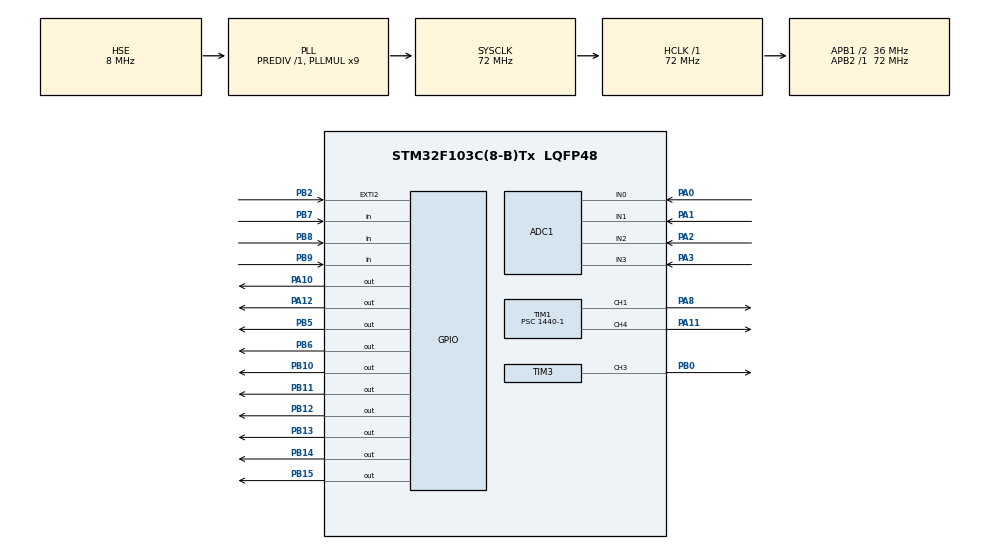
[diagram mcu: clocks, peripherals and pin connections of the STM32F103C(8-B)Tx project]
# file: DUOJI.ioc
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ADC1.Channel-11\#ChannelRegularConversion=ADC_CHANNEL_0
ADC1.Channel-12\#ChannelRegularConversion=ADC_CHANNEL_1
ADC1.Channel-13\#ChannelRegularConversion=ADC_CHANNEL_2
ADC1.Channel-14\#ChannelRegularConversion=ADC_CHANNEL_3
ADC1.ContinuousConvMode=ENABLE
ADC1.ExternalTrigConv=ADC_SOFTWARE_START
ADC1.NbrOfConversion=4
ADC1.NbrOfConversionFlag=1
ADC1.Rank-11\#ChannelRegularConversion=1
ADC1.Rank-12\#ChannelRegularConversion=2
ADC1.Rank-13\#ChannelRegularConversion=3
ADC1.Rank-14\#ChannelRegularConversion=4
ADC1.SamplingTime-11\#ChannelRegularConversion=ADC_SAMPLETIME_7CYCLES_5
ADC1.SamplingTime-12\#ChannelRegularConversion=ADC_SAMPLETIME_7CYCLES_5
ADC1.SamplingTime-13\#ChannelRegularConversion=ADC_SAMPLETIME_7CYCLES_5
ADC1.SamplingTime-14\#ChannelRegularConversion=ADC_SAMPLETIME_7CYCLES_5
ADC1.master=1
Dma.ADC1.0.Direction=DMA_PERIPH_TO_MEMORY
Dma.ADC1.0.Instance=DMA1_Channel1
Dma.ADC1.0.MemDataAlignment=DMA_MDATAALIGN_HALFWORD
Dma.ADC1.0.MemInc=DMA_MINC_ENABLE
Dma.ADC1.0.Mode=DMA_CIRCULAR
Dma.ADC1.0.PeriphDataAlignment=DMA_PDATAALIGN_HALFWORD
Dma.ADC1.0.PeriphInc=DMA_PINC_DISABLE
Dma.ADC1.0.Priority=DMA_PRIORITY_LOW
Dma.Request0=ADC1
Mcu.Family=STM32F1
Mcu.Name=STM32F103C(8-B)Tx
Mcu.Package=LQFP48
NVIC.ADC1_2_IRQn=true\:0\:0\:false\:false\:true\:true\:true\:true
NVIC.DMA1_Channel1_IRQn=true\:0\:0\:false\:false\:true\:false\:true\:true
NVIC.EXTI2_IRQn=true\:0\:0\:false\:false\:true\:true\:true\:true
NVIC.PriorityGroup=NVIC_PRIORITYGROUP_4
NVIC.TIM4_IRQn=true\:0\:0\:false\:false\:true\:true\:true\:true
PA0-WKUP.Signal=ADCx_IN0
PA1.Signal=ADCx_IN1
PA10.Signal=GPIO_Output
PA11.Signal=S_TIM1_CH4
PA12.Signal=GPIO_Output
PA13.Mode=Serial_Wire
PA13.Signal=SYS_JTMS-SWDIO
PA14.Mode=Serial_Wire
PA14.Signal=SYS_JTCK-SWCLK
PA2.Signal=ADCx_IN2
PA3.Signal=ADCx_IN3
PA8.Signal=S_TIM1_CH1
PB0.Signal=S_TIM3_CH3
PB10.Signal=GPIO_Output
PB11.Signal=GPIO_Output
PB12.Signal=GPIO_Output
PB13.Signal=GPIO_Output
PB14.Signal=GPIO_Output
PB15.Signal=GPIO_Output
PB2.GPIO_PuPd=GPIO_PULLUP
PB2.Signal=GPXTI2
PB4.Signal=S_TIM3_CH1
PB5.Signal=GPIO_Output
PB6.Signal=GPIO_Output
PB7.Signal=GPIO_Input
PB8.Signal=GPIO_Input
PB9.Signal=GPIO_Input
PD0-OSC_IN.Mode=HSE-External-Oscillator
PD0-OSC_IN.Signal=RCC_OSC_IN
PD1-OSC_OUT.Mode=HSE-External-Oscillator
PD1-OSC_OUT.Signal=RCC_OSC_OUT
ProjectManager.HeapSize=0x200
ProjectManager.StackSize=0x400
ProjectManager.TargetToolchain=MDK-ARM V5.32
RCC.ADCPresc=RCC_ADCPCLK2_DIV6
RCC.AHBFreq_Value=72000000
RCC.APB1CLKDivider=RCC_HCLK_DIV2
RCC.APB1Freq_Value=36000000
RCC.APB1TimFreq_Value=72000000
RCC.APB2Freq_Value=72000000
RCC.APB2TimFreq_Value=72000000
RCC.HCLKFreq_Value=72000000
RCC.PLLMUL=RCC_PLL_MUL9
RCC.PLLSourceVirtual=RCC_PLLSOURCE_HSE
RCC.SYSCLKFreq_VALUE=72000000
RCC.SYSCLKSource=RCC_SYSCLKSOURCE_PLLCLK
RCC.USBFreq_Value=72000000
SH.ADCx_IN0.0=ADC1_IN0,IN0
SH.ADCx_IN1.0=ADC1_IN1,IN1
SH.ADCx_IN2.0=ADC1_IN2,IN2
SH.ADCx_IN3.0=ADC1_IN3,IN3
SH.S_TIM1_CH1.0=TIM1_CH1,PWM Generation1 CH1
SH.S_TIM1_CH4.0=TIM1_CH4,PWM Generation4 CH4
SH.S_TIM3_CH1.0=TIM3_CH1
SH.S_TIM3_CH3.0=TIM3_CH3,PWM Generation3 CH3
TIM1.AutoReloadPreload=TIM_AUTORELOAD_PRELOAD_ENABLE
TIM1.Channel-PWM\ Generation1\ CH1=TIM_CHANNEL_1
TIM1.Channel-PWM\ Generation4\ CH4=TIM_CHANNEL_4
TIM1.OCFastMode_PWM-PWM\ Generation1\ CH1=TIM_OCFAST_DISABLE
TIM1.OCFastMode_PWM-PWM\ Generation4\ CH4=TIM_OCFAST_DISABLE
TIM1.Period=100-1
TIM1.Prescaler=1440-1
TIM1.Pulse-PWM\ Generation1\ CH1=90
TIM1.Pulse-PWM\ Generation4\ CH4=90
TIM2.Period=100-1
TIM2.Prescaler=7200-1
TIM3.Channel-PWM\ Generation3\ CH3=TIM_CHANNEL_3
TIM3.Period=20000-1
TIM3.Prescaler=72-1
TIM4.Period=100-1
TIM4.Prescaler=7200-1
VP_TIM1_VS_ClockSourceINT.Mode=Internal
VP_TIM2_VS_ClockSourceINT.Mode=Internal
VP_TIM3_VS_ClockSourceINT.Mode=Internal
VP_TIM4_VS_ClockSourceINT.Mode=Internal
board=custom

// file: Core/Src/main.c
/* USER CODE BEGIN Header */
/**
  ******************************************************************************
  * @file           : main.c
  * @brief          : Main program body
  ******************************************************************************
  * @attention
  *
  * Copyright (c) 2024 STMicroelectronics.
  * All rights reserved.
  *
  * This software is licensed under terms that can be found in the LICENSE file
  * in the root directory of this software component.
  * If no LICENSE file comes with this software, it is provided AS-IS.
  *
  ******************************************************************************
  */
/* USER CODE END Header */
#include "main.h"
#include "adc.h"
#include "dma.h"
#include "tim.h"
#include "gpio.h"

/* USER CODE BEGIN Includes */
#include "pwm.h"
#include "badc.h"
#include "pid.h"
#include "oled.h"
#include "key.h"
#include "stdio.h"
extern struct keys key[3];
extern uint16_t adci[10];
extern uint16_t adcj[10];
extern uint16_t adck[10];
extern uint16_t adctmp[10];
extern uint16_t AD_Val[10];
extern uint16_t sum1[10];
extern double position_1;
extern uint16_t AD_left1;
extern uint16_t AD_left2;
extern uint16_t AD_right1;
extern uint16_t AD_right2;
extern uint16_t AD_mid;
uint flag_huandao1=0;
uint flag_huandao2=0;
uint flag_sancha1=0;
uint flag_sancha2=0;
uint flag_sancha3=0;
uint flag_shizi=0;
uchar Value1 = 0;
double num1;
int PWMValue1;
int flag_gan1 = 0;
int flag_gan2 = 0;
char num[30]={0};
extern double  PID_P1;        /*  比例常数 */
extern double  PID_D1;         /*  微分常数 */
extern double  LastError1;          /*  前一项误差 */
extern double  PrevError1;          /*  前第二项误差 */

extern uchar ad_1_sum;
extern uchar ad_1_diff;
extern double count_1;
double  PID_P1 = 26.3;         /*  比例常数 */
double  PID_D1 = 25.4;         /*  微分常数 */
double  LastError1;          /*  前一项误差 */
double  PrevError1;
double dError1, Error1;
/* USER CODE END Includes */

void SystemClock_Config(void);

/* USER CODE BEGIN 0 */
void oled_proc(void);
void keys_flag(void);
void ChaBiHe_ADC(void);
void PID_Vertical (void);
void shizi(void);
void sancha(void);
void gan(void);
void huandao(void);
/* USER CODE END 0 */

int main(void)
{

  /* MCU Configuration--------------------------------------------------------*/

  /* Reset of all peripherals, Initializes the Flash interface and the Systick. */
  HAL_Init();

  /* Configure the system clock */
  SystemClock_Config();

  /* Initialize all configured peripherals */
  MX_GPIO_Init();
  MX_DMA_Init();
  MX_TIM3_Init();
  MX_ADC1_Init();
  MX_TIM2_Init();
  MX_TIM1_Init();
  MX_TIM4_Init();
  /* USER CODE BEGIN 2 */
	OLED_Init();
	OLED_Clear();
	HAL_TIM_PWM_Start(&htim3, TIM_CHANNEL_3);
	HAL_TIM_PWM_Start(&htim1, TIM_CHANNEL_1);
	HAL_TIM_PWM_Start(&htim1, TIM_CHANNEL_4);
	HAL_TIM_Base_Start(&htim3);
	HAL_TIM_Base_Start(&htim1);
	HAL_TIM_Base_Start_IT(&htim4);
  /* USER CODE END 2 */

  /* Infinite loop */
  while (1)
  {

    /* USER CODE BEGIN 3 */
//		gan();
		Get_ADC();
		ChaBiHe_ADC();
		PID_Vertical();
		if(PWMValue1 > 350)
		{
			PWMValue1 = 350;
		}
		if(PWMValue1 < -350)
		{
			PWMValue1 = -350;
		}
//		if(flag_gan1==1&&flag_gan2 == 0)
//		{
//			int i;
//			for(i=155;i<280;i++)
//			{
//				left_on();
//				right_on();
////			Value1=1500-i;
//				__HAL_TIM_SET_COMPARE(&htim3, TIM_CHANNEL_3,1500+i);
//				HAL_Delay(15);
//			}
//			flag_gan1=0;
//			flag_gan2=!flag_gan2;
//		}
////		if(flag_gan1 == 1&&flag_gan2 == 2)
////		{
//			int i;
//			for(i=155;i<280;i++)
//			{
//				left_on();
//				right_on();
////			Value1=1500-i;
//				__HAL_TIM_SET_COMPARE(&htim3, TIM_CHANNEL_3,1500+i);
//				HAL_Delay(15);
//			}
//			flag_gan1 = 0;
//				left_down();
//			  right_down();
//		}
//		if(flag_gan2 > 2)
//		{
//			flag_gan2 = 1;
//		}
			__HAL_TIM_SetCompare(&htim3, TIM_CHANNEL_3,1500-PWMValue1);
			left_on();
			right_on();
//		oled_proc();
			huandao();
  }
  /* USER CODE END 3 */
}

void SystemClock_Config(void)
{
  RCC_OscInitTypeDef RCC_OscInitStruct = {0};
  RCC_ClkInitTypeDef RCC_ClkInitStruct = {0};
  RCC_PeriphCLKInitTypeDef PeriphClkInit = {0};

  /** Initializes the RCC Oscillators according to the specified parameters
  * in the RCC_OscInitTypeDef structure.
  */
  RCC_OscInitStruct.OscillatorType = RCC_OSCILLATORTYPE_HSE;
  RCC_OscInitStruct.HSEState = RCC_HSE_ON;
  RCC_OscInitStruct.HSEPredivValue = RCC_HSE_PREDIV_DIV1;
  RCC_OscInitStruct.HSIState = RCC_HSI_ON;
  RCC_OscInitStruct.PLL.PLLState = RCC_PLL_ON;
  RCC_OscInitStruct.PLL.PLLSource = RCC_PLLSOURCE_HSE;
  RCC_OscInitStruct.PLL.PLLMUL = RCC_PLL_MUL9;
  if (HAL_RCC_OscConfig(&RCC_OscInitStruct) != HAL_OK)
  {
    Error_Handler();
  }

  /** Initializes the CPU, AHB and APB buses clocks
  */
  RCC_ClkInitStruct.ClockType = RCC_CLOCKTYPE_HCLK|RCC_CLOCKTYPE_SYSCLK
                              |RCC_CLOCKTYPE_PCLK1|RCC_CLOCKTYPE_PCLK2;
  RCC_ClkInitStruct.SYSCLKSource = RCC_SYSCLKSOURCE_PLLCLK;
  RCC_ClkInitStruct.AHBCLKDivider = RCC_SYSCLK_DIV1;
  RCC_ClkInitStruct.APB1CLKDivider = RCC_HCLK_DIV2;
  RCC_ClkInitStruct.APB2CLKDivider = RCC_HCLK_DIV1;

  if (HAL_RCC_ClockConfig(&RCC_ClkInitStruct, FLASH_LATENCY_2) != HAL_OK)
  {
    Error_Handler();
  }
  PeriphClkInit.PeriphClockSelection = RCC_PERIPHCLK_ADC;
  PeriphClkInit.AdcClockSelection = RCC_ADCPCLK2_DIV6;
  if (HAL_RCCEx_PeriphCLKConfig(&PeriphClkInit) != HAL_OK)
  {
    Error_Handler();
  }
}

/* USER CODE BEGIN 4 */
void oled_proc(void)
{
	OLED_ShowString(10,0,(uint8_t *)"Smart",16);
	OLED_ShowString(55,0,(uint8_t *)"Car_MY",16);
	OLED_ShowString(0,2,(uint8_t *)"V1:",12);
	OLED_ShowString(0,3,(uint8_t *)"V2:",12);
	OLED_ShowString(0,4,(uint8_t *)"V3:",12);
	OLED_ShowString(0,5,(uint8_t *)"V4:",12);
//	OLED_ShowString(0,6,(uint8_t *)"V5:",12);
	OLED_ShowString(0,6,(uint8_t *)"Va",12);
	OLED_ShowString(0,7,(uint8_t *)"Er",12);
	OLED_ShowString(55,2,(uint8_t *)"P:",12);
	OLED_ShowString(55,3,(uint8_t *)"D:",12);
	OLED_ShowString(55,4,(uint8_t *)"SHI:",12);
	OLED_ShowString(55,5,(uint8_t *)"San:",12);
	OLED_ShowString(55,6,(uint8_t *)"fl1",12);
	OLED_ShowString(55,7,(uint8_t *)"fl2",12);
	OLED_ShowNum(20,2,AD_Val[3],5,12);

	OLED_ShowNum(20,3,AD_Val[0],5,12);

	OLED_ShowNum(20,4,AD_Val[2],5,12);

	OLED_ShowNum(20,5,AD_Val[1],5,12);
//	//差与和的动态信息
//	OLED_ShowNum(20,6,AD_Val[4],5,12);
	sprintf(num,"%.2f",Error1);
	OLED_ShowString(20, 7, (uint8_t*)num,12);
//	if(PWMValue1 < 0)
//	{
//		sprintf(num,"%d",PWMValue1);
//		OLED_ShowString(20, 6, (uint8_t*)num,12);
//	}
//	if(PWMValue1 >= 0)
//	{
//		sprintf(num,"%d",(int)num1);
//		OLED_ShowString(20, 6, (uint8_t*)num,12);
//	}
		sprintf(num,"%d",PWMValue1);
		OLED_ShowString(20, 6, (uint8_t*)num,12);

	OLED_ShowNum(90,2,PID_P1,5,12);

	OLED_ShowNum(90,3,PID_D1,5,12);

	OLED_ShowNum(90,4,flag_shizi,5,12);

	OLED_ShowNum(90,5,flag_sancha1,5,12);

	OLED_ShowNum(90,6,flag_gan1,5,12);

	OLED_ShowNum(90,7,flag_gan2,5,12);
}

void HAL_GPIO_EXTI_Callback(uint16_t GPIO_Pin)
{
	if(GPIO_Pin==GPIO_PIN_2)
	{
		flag_gan2++;
	}
}
//void keys_flag(void)
//{
//	if(key[0].single_flag==1)
//	{
//		PID_P1=PID_P1+1;
//		key[0].single_flag = 0;
//	}
//		if(key[1].single_flag==1)
//	{
//		PID_D1=PID_D1+0.5;
//		key[1].single_flag = 0;
//	}
//		if(key[0].long_flag==1)
//	{
//		PID_P1=PID_P1-1;
//		key[0].long_flag = 0;
//	}
//		if(key[1].long_flag==1)
//	{
//		PID_D1=PID_D1-0.5;
//		key[1].long_flag = 0;
//	}
//}
void huandao(void)
{
		if(AD_Val[3]>2000&&AD_Val[0]>3500&&AD_Val[2]>1800&&AD_Val[1]>1500)
		{
				flag_huandao1 = 1;
				flag_huandao2 = !flag_huandao2;
		}
		if(flag_huandao1 == 1&&flag_huandao2 == 1)
		{
			__HAL_TIM_SetCompare(&htim3, TIM_CHANNEL_3,1300);
			HAL_Delay(300);
			flag_huandao1 = 0;
		}
}
void sancha(void)
{
	if(AD_Val[3]>1000&&AD_Val[0]>2700&&AD_Val[2]>2500&&AD_Val[1]>1000)
	{
		flag_sancha1=1;
//		flag_sancha2=1;
	}
//	if(AD_Val[3]<1400&&AD_Val[0]<500&&AD_Val[1]<500&&AD_Val[2]<500)
//	{
//		flag_sancha2=1;
//	}
	if(flag_sancha1==1&&flag_sancha3==0)
	{
		HAL_GPIO_WritePin(GPIOB , GPIO_PIN_12,GPIO_PIN_RESET);
		HAL_GPIO_WritePin(GPIOB , GPIO_PIN_14,GPIO_PIN_RESET);
		__HAL_TIM_SetCompare(&htim3, TIM_CHANNEL_1,1900);
		HAL_Delay(1000);
		flag_sancha1=0;
		flag_sancha3=1;
	}
	if(flag_sancha1==1&&flag_sancha3==1)
	{
		HAL_GPIO_WritePin(GPIOB , GPIO_PIN_12,GPIO_PIN_RESET);
		HAL_GPIO_WritePin(GPIOB , GPIO_PIN_14,GPIO_PIN_RESET);
		__HAL_TIM_SetCompare(&htim3, TIM_CHANNEL_1,1100);
		HAL_Delay(1000);
		flag_sancha1=0;
		flag_sancha3=0;
	}
}
void shizi(void)
{
	if(AD_Val[0]>2500&&AD_Val[1]>2500&&AD_Val[2]>2500)
	{
		flag_shizi=1;
	}
	if(flag_shizi == 1)
	{
		__HAL_TIM_SetCompare(&htim3, TIM_CHANNEL_1,1500);
		HAL_Delay(500);
		flag_shizi=0;
	}
}
void ChaBiHe_ADC(void)
{
	ad_1_sum = AD_Val[0] + AD_Val[2] +1;
	ad_1_diff = AD_Val[0] - AD_Val[2] ;
	count_1 = (double)(AD_Val[0] - AD_Val[2]) / (AD_Val[0] + AD_Val[2]+1);
//	position_1  = count_1 * 100;
	HAL_Delay(5);
}

void PID_Vertical(void)
{
	double num2 = 0;
	Error1 = 100*(double)(AD_Val[0] - AD_Val[2]) / (AD_Val[0] + AD_Val[2]+1);//差比和的值作为error	/*目标值为差比和值为0，所以可以直接将差比和实际所得值作为error*/
	dError1 = LastError1 - PrevError1;
	PrevError1 = LastError1;
  LastError1 = Error1;
	if(Error1>0)
	{
		num2 = Error1/6.85;
		PWMValue1 = PID_P1 * num2 + PID_D1 * dError1;

	}
	else
	{
		PWMValue1 = PID_P1 * Error1 + PID_D1 * dError1;
	}

//	err1_1 =position_1;
// derr_1=err1_1-err3_1;
// err3_1=err2_1;
// err1_2=err1_1;
// PWMValue1 = PID_P1*err1_1+PID_D1*derr_1;
}
/* USER CODE END 4 */

void Error_Handler(void)
{
  __disable_irq();
  while (1)
  {
  }
}
